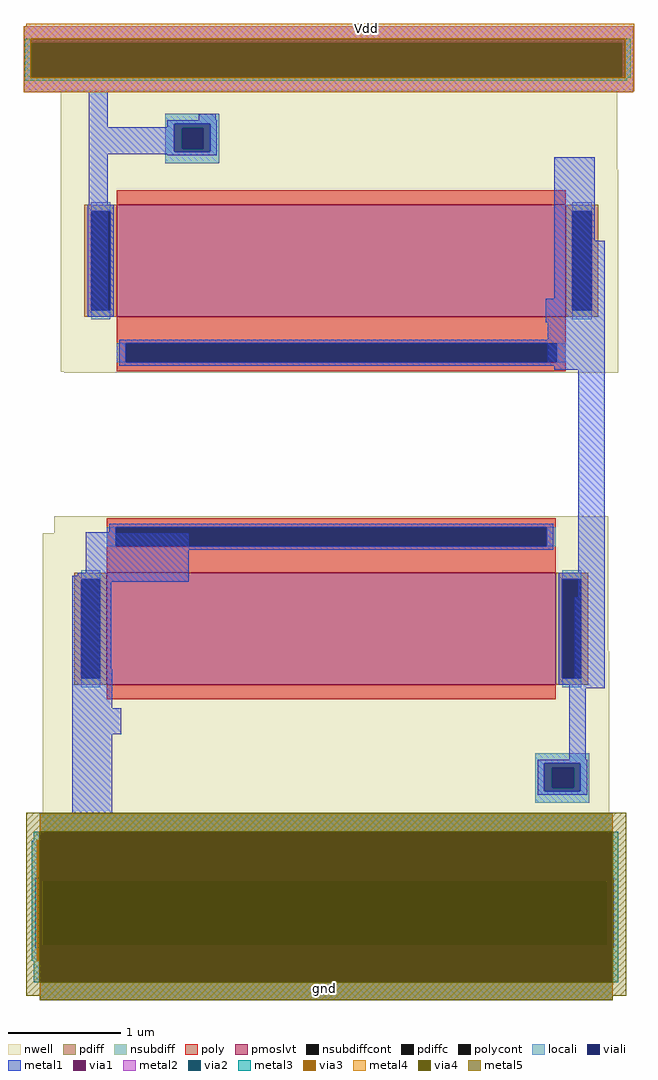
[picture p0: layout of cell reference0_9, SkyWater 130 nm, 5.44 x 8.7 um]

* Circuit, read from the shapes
.subckt reference0_9 Vdd gnd
XM1 n1 gnd gnd n1 sky130_fd_pr__pfet_01v8_lvt w=1 l=4
XM2 n1 n1 Vdd Vdd sky130_fd_pr__pfet_01v8_lvt w=1 l=4
.ends

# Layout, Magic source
magic
tech sky130A
magscale 1 2
<< nwell >>
rect 0 242 992 502
rect 0 88 930 242
rect 0 0 826 88
rect 876 54 930 88
rect 876 18 916 54
rect 914 8 916 18
rect -32 -544 874 -288
rect 916 -498 930 -402
rect -32 -554 876 -544
rect 916 -554 978 -498
rect -32 -858 978 -554
<< nsubdiff >>
rect 186 434 282 460
rect 186 398 216 434
rect 254 398 282 434
rect 186 372 282 398
rect 846 -706 942 -680
rect 846 -742 876 -706
rect 914 -742 942 -706
rect 846 -768 942 -742
<< nsubdiffcont >>
rect 216 398 254 434
rect 876 -742 914 -706
<< locali >>
rect 186 442 282 460
rect 186 392 202 442
rect 266 392 282 442
rect 186 372 282 392
rect 846 -698 942 -680
rect 846 -748 862 -698
rect 926 -748 942 -698
rect 846 -768 942 -748
<< viali >>
rect -54 524 1000 586
rect 202 434 266 442
rect 202 398 216 434
rect 216 398 254 434
rect 254 398 266 434
rect 202 392 266 398
rect 862 -706 926 -698
rect 862 -742 876 -706
rect 876 -742 914 -706
rect 914 -742 926 -706
rect 862 -748 926 -742
rect -34 -1022 974 -908
<< metal1 >>
rect -66 586 1020 616
rect -66 524 -54 586
rect 1000 524 1020 586
rect -66 498 1020 524
rect 50 436 84 498
rect 246 448 276 460
rect 190 442 278 448
rect 190 436 202 442
rect 50 392 202 436
rect 266 392 278 442
rect 50 388 278 392
rect 50 110 84 388
rect 190 386 278 388
rect 880 234 952 382
rect 880 130 970 234
rect 864 88 970 130
rect 868 12 970 88
rect 880 4 970 12
rect 44 -288 90 -286
rect 44 -364 228 -288
rect 20 -374 228 -364
rect 20 -530 90 -374
rect 922 -402 970 4
rect 20 -600 92 -530
rect 916 -554 970 -402
rect 906 -564 970 -554
rect 20 -646 108 -600
rect 20 -788 92 -646
rect 906 -692 936 -564
rect 850 -698 938 -692
rect 850 -748 862 -698
rect 926 -748 938 -698
rect 850 -754 938 -748
rect -38 -902 984 -788
rect -46 -908 986 -902
rect -46 -1022 -34 -908
rect 974 -1022 986 -908
rect -46 -1028 986 -1022
rect -38 -1120 984 -1028
<< via1 >>
rect -54 524 1000 586
rect -34 -1022 974 -908
<< metal2 >>
rect -66 586 1020 616
rect -66 524 -54 586
rect 1000 524 1020 586
rect -66 498 1020 524
rect -38 -908 984 -788
rect -38 -1022 -34 -908
rect 974 -1022 984 -908
rect -38 -1120 984 -1022
<< via2 >>
rect -54 524 1000 586
rect -34 -1022 974 -908
<< metal3 >>
rect -64 524 -54 594
rect 1006 524 1016 594
rect -64 519 1010 524
rect -38 -820 984 -788
rect -48 -836 -38 -820
rect -52 -1050 -42 -836
rect -48 -1088 -38 -1050
rect 984 -1088 994 -820
rect -38 -1120 984 -1088
<< via3 >>
rect -54 586 1006 594
rect -54 524 1000 586
rect 1000 524 1006 586
rect -38 -836 984 -820
rect -42 -908 984 -836
rect -42 -1022 -34 -908
rect -34 -1022 974 -908
rect 974 -1022 984 -908
rect -42 -1050 984 -1022
rect -38 -1088 984 -1050
<< metal4 >>
rect -62 616 1022 620
rect -66 594 1022 616
rect -66 524 -54 594
rect 1006 524 1022 594
rect -66 500 1022 524
rect -66 498 1020 500
rect -38 -819 984 -788
rect -39 -820 985 -819
rect -39 -835 -38 -820
rect -43 -836 -38 -835
rect -43 -1050 -42 -836
rect -43 -1051 -38 -1050
rect -39 -1088 -38 -1051
rect 984 -1088 985 -820
rect -39 -1089 985 -1088
rect -38 -1120 984 -1089
<< via4 >>
rect -38 -1088 984 -820
<< metal5 >>
rect -62 -820 1008 -786
rect -62 -1088 -38 -820
rect 984 -1088 1008 -820
rect -62 -1112 1008 -1088
rect -38 -1120 984 -1112
use sky130_fd_pr__pfet_01v8_lvt_Y7VTPE  sky130_fd_pr__pfet_01v8_lvt_Y7VTPE_0
transform -1 0 500 0 -1 162
box -494 -198 494 164
use sky130_fd_pr__pfet_01v8_lvt_Y7VTPE  sky130_fd_pr__pfet_01v8_lvt_Y7VTPE_1
transform 1 0 482 0 1 -422
box -494 -198 494 164
<< labels >>
rlabel metal4 544 612 544 612 1 Vdd
port 1 n
rlabel metal5 470 -1100 470 -1100 1 gnd
port 2 n
<< end >>

# cell sky130_fd_pr__pfet_01v8_lvt_Y7VTPE: kit device sky130_fd_pr__pfet_01v8_lvt, w 1 l 4 m 1 nf 1 diffcov 100 polycov 100 guard 0 glc 0 grc 0 gtc 0 gbc 0 tbcov 100 rlcov 100 topc 1 botc 0 poverlap 0 doverlap 0 lmin 0.35 wmin 0.42 compatible {sky130_fd_pr__pfet_01v8 sky130_fd_pr__pfet_01v8_lvt sky130_fd_pr__pfet_01v8_hvt sky130_fd_pr__pfet_g5v0d10v5} full_metal 0 viasrc 100 viadrn 100 viagate 100 viagb 0 viagr 0 viagl 0 viagt 0
